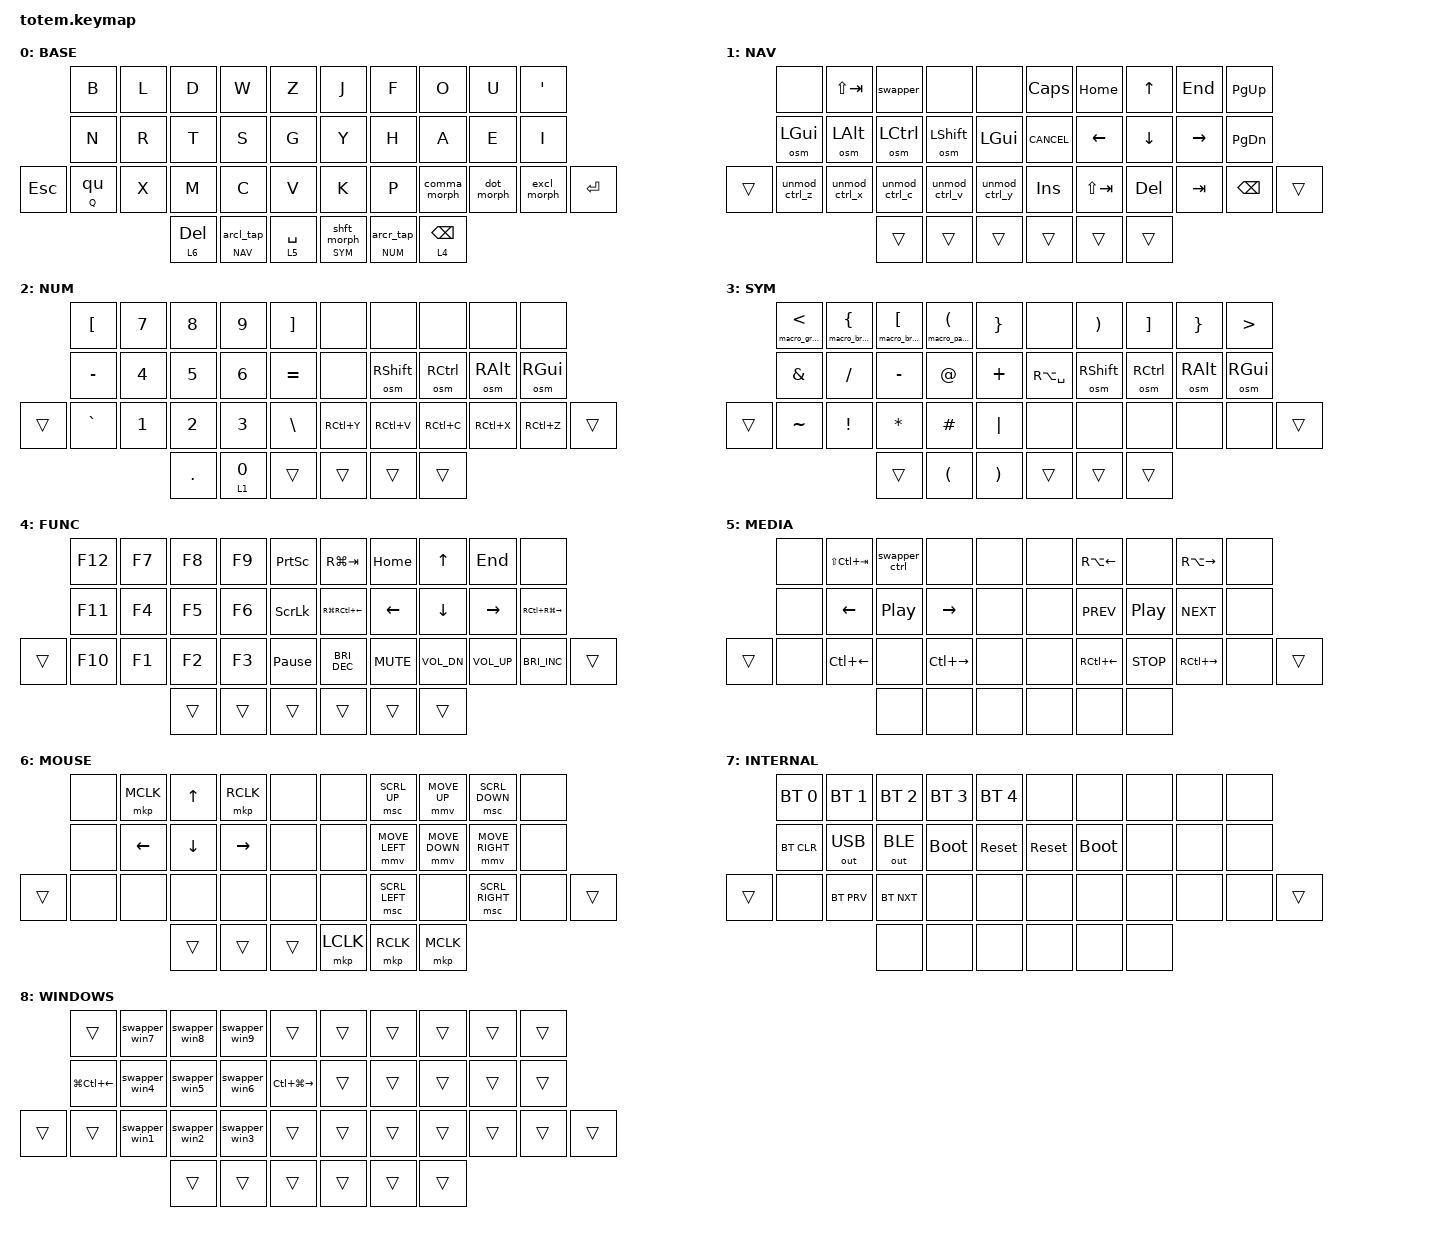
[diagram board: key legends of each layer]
#define ZMK_POINTING_DEFAULT_MOVE_VAL 1200  // 600
#define ZMK_POINTING_DEFAULT_SCRL_VAL 25   // 10

#include <input/processors.dtsi>
#include <zephyr/dt-bindings/input/input-event-codes.h>
#include <behaviors.dtsi>
#include <dt-bindings/zmk/bt.h>
#include <dt-bindings/zmk/keys.h>
#include <dt-bindings/zmk/outputs.h>
#include <dt-bindings/zmk/pointing.h>

#define BASE 0
#define NAV  1
#define NUM  2
#define SYM  3
#define FUNC 4
#define MEDIA 5
#define MOUSE 6

&mmv_input_listener { input-processors = <&zip_xy_scaler 2 1>; };

&msc_input_listener { input-processors = <&zip_scroll_scaler 2 1>; };

&msc {
    acceleration-exponent = <1>;      // 0
    time-to-max-speed-ms = <100>;       // 300
    delay-ms = <0>;                   // 0
};

&mmv {
    time-to-max-speed-ms = <500>;
    acceleration-exponent = <1>;
    trigger-period-ms = <16>;
};

&mt {
    quick-tap-ms = <200>;
    global-quick-tap;
    flavor = "tap-preferred";
    tapping-term-ms = <170>;
};

&lt {
    quick-tap-ms = <200>;
    flavor = "tap-preferred";
    tapping-term-ms = <170>;
};

/ {
    behaviors {
        osm: one_shot_mod {
            compatible = "zmk,behavior-sticky-key";
            label = "One-Shot Mod";
            #binding-cells = <1>;
            bindings = <&kp>;
            release-after-ms = <2000>;
            quick-release;
            ignore-modifiers;
        };

        swapper: swapper {
            compatible = "zmk,behavior-tri-state";
            label = "SWAPPER";
            #binding-cells = <0>;
            bindings = <&kt LALT>, <&kp TAB>, <&kt LALT>;

            ignored-key-positions = <2 1>;
        };

        osmlt: osm_layer_tap {
            compatible = "zmk,behavior-hold-tap";
            #binding-cells = <2>;
            flavor = "tap-preferred";
            tapping-term-ms = <200>;
            quick-tap-ms = <200>;
            bindings = <&mo>, <&osm>;

            display-name = "OSM Layer-Tap";
        };

        shftlt: shft_layer_tap {
            compatible = "zmk,behavior-hold-tap";
            #binding-cells = <2>;
            flavor = "tap-preferred";
            tapping-term-ms = <200>;
            quick-tap-ms = <200>;
            bindings = <&mo>, <&shft_morph>;

            display-name = "Shift Layer-Tap";
        };

        qu_or: qu_or {
            compatible = "zmk,behavior-hold-tap";
            label = "QU_OR";
            bindings = <&kp>, <&qu>;

            #binding-cells = <2>;
            tapping-term-ms = <220>;
            flavor = "tap-preferred";
        };

        comma_morph: comma_morph {
            compatible = "zmk,behavior-mod-morph";
            label = "COMMA_MORPH";
            #binding-cells = <0>;
            bindings = <&kp COMMA>, <&kp SEMI>;

            mods = <(MOD_LSFT|MOD_RSFT)>;
        };

        dot_morph: dot_morph {
            compatible = "zmk,behavior-mod-morph";
            label = "DOT_MORPH";
            #binding-cells = <0>;
            bindings = <&kp DOT>, <&kp COLON>;

            mods = <(MOD_LSFT|MOD_RSFT)>;
        };

        shft_morph: shft_morph {
            compatible = "zmk,behavior-mod-morph";
            label = "SHFT_MORPH";
            #binding-cells = <0>;
            bindings = <&osm RSHFT>, <&caps_word>;

            mods = <(MOD_LSFT|MOD_RSFT)>;
        };

        arcl_tap: arcane_left_tap {
            compatible = "zmk,behavior-adaptive-key";
            #binding-cells = <0>;
            label = "Arcane Left Tap";
            bindings = <&mo 1>;

            repeat {
                trigger-keys = <B L D Z N R T S G M C V>;
                bindings = <&key_repeat>;
                strict-modifiers;
            };

            arcl_fh {
                trigger-keys = <F H>;
                bindings = <&kp Y>;
            };

            arcl_w {
                trigger-keys = <W>;
                bindings = <&hat>;
            };

            arcl_p {
                trigger-keys = <P>;
                bindings = <&kp H>;
            };

            arcl_period {
                trigger-keys = <DOT>;
                bindings = <&com>;
            };

            arcl_i {
                trigger-keys = <I>;
                bindings = <&mc_on>;
            };

            arcl_a {
                trigger-keys = <A>;
                bindings = <&nd>;
            };
        };

        arcr_tap: arcane_right_tap {
            compatible = "zmk,behavior-adaptive-key";
            #binding-cells = <0>;
            label = "Arcane Right Tap";
            bindings = <&mo 2>;

            repeat {
                trigger-keys = <F O E K P>;
                bindings = <&key_repeat>;
                strict-modifiers;
            };

            arcr_a {
                trigger-keys = <A>;
                bindings = <&nd>;
            };

            arcr_b {
                trigger-keys = <B>;
                bindings = <&ecause>;
            };

            arcr_m {
                trigger-keys = <M>;
                bindings = <&ent>;
            };

            arcr_cw {
                trigger-keys = <C W>;
                bindings = <&ould>;
            };

            arcr_comma {
                trigger-keys = <COMMA>;
                bindings = <&spc_but>;
            };

            arcr_dot {
                trigger-keys = <DOT>;
                bindings = <&org>;
            };

            arcr_nt {
                trigger-keys = <N T>;
                bindings = <&ion>;
            };

            arcr_i {
                trigger-keys = <I>;
                bindings = <&ng>;
            };

            arcr_y {
                trigger-keys = <Y>;
                bindings = <&ou>;
            };
        };

        arcl: arcane_left {
            compatible = "zmk,behavior-hold-tap";
            label = "Arcane Left";
            bindings = <&mo>, <&arcl_tap>;

            #binding-cells = <2>;
            tapping-term-ms = <185>;
            quick-tap-ms = <200>;
        };

        arcr: arcane_right {
            compatible = "zmk,behavior-hold-tap";
            label = "Arcane Right";
            bindings = <&mo>, <&arcr_tap>;

            #binding-cells = <2>;
            tapping-term-ms = <185>;
            quick-tap-ms = <200>;
        };

        parens_ht: parens_ht {
            compatible = "zmk,behavior-hold-tap";
            label = "PARENS_HT";
            bindings = <&macro_parens>, <&kp>;

            #binding-cells = <2>;
            tapping-term-ms = <180>;
            flavor = "balanced";
        };

        braces_ht: braces_ht {
            compatible = "zmk,behavior-hold-tap";
            label = "BRACES_HT";
            bindings = <&macro_braces>, <&kp>;

            #binding-cells = <2>;
            tapping-term-ms = <180>;
            flavor = "balanced";
        };

        brackets_ht: brackets_ht {
            compatible = "zmk,behavior-hold-tap";
            label = "BRACKETS_HT";
            bindings = <&macro_brackets>, <&kp>;

            #binding-cells = <2>;
            tapping-term-ms = <180>;
            flavor = "balanced";
        };

        gt_lt_ht: gt_lt_ht {
            compatible = "zmk,behavior-hold-tap";
            label = "GT_LT_HT";
            bindings = <&macro_greater_less>, <&kp>;

            #binding-cells = <2>;
            tapping-term-ms = <180>;
            flavor = "balanced";
        };

        excl_morph: excl_morph {
            compatible = "zmk,behavior-mod-morph";
            label = "EXCL_MORPH";
            #binding-cells = <0>;
            bindings = <&kp EXCL>, <&kp QUESTION>;

            mods = <(MOD_LSFT|MOD_RSFT)>;
        };

        swapper_ctrl: swapper_ctrl {
            compatible = "zmk,behavior-tri-state";
            label = "SWAPPER_CTRL";
            #binding-cells = <0>;
            bindings = <&kt LCTL>, <&kp TAB>, <&kt LCTL>;

            ignored-key-positions = <2 1>;
        };

        swapper_win1: swapper_win1 {
            compatible = "zmk,behavior-tri-state";
            label = "SWAPPER_WIN1";
            #binding-cells = <0>;
            bindings = <&kt LWIN>, <&kp N1>, <&kt LWIN>;

            ignored-key-positions = <1 2 3 12 13 14 23 24 25>;
        };

        swapper_win2: swapper_win2 {
            compatible = "zmk,behavior-tri-state";
            label = "SWAPPER_WIN2";
            #binding-cells = <0>;
            bindings = <&kt LWIN>, <&kp N2>, <&kt LWIN>;

            ignored-key-positions = <1 2 3 12 13 14 23 24 25>;
        };

        swapper_win3: swapper_win3 {
            compatible = "zmk,behavior-tri-state";
            label = "SWAPPER_WIN3";
            #binding-cells = <0>;
            bindings = <&kt LWIN>, <&kp N3>, <&kt LWIN>;

            ignored-key-positions = <1 2 3 12 13 14 23 24 25>;
        };

        swapper_win4: swapper_win4 {
            compatible = "zmk,behavior-tri-state";
            label = "SWAPPER_WIN4";
            #binding-cells = <0>;
            bindings = <&kt LWIN>, <&kp N4>, <&kt LWIN>;

            ignored-key-positions = <1 2 3 12 13 14 23 24 25>;
        };

        swapper_win5: swapper_win5 {
            compatible = "zmk,behavior-tri-state";
            label = "SWAPPER_WIN5";
            #binding-cells = <0>;
            bindings = <&kt LWIN>, <&kp N5>, <&kt LWIN>;

            ignored-key-positions = <1 2 3 12 13 14 23 24 25>;
        };

        swapper_win6: swapper_win6 {
            compatible = "zmk,behavior-tri-state";
            label = "SWAPPER_WIN6";
            #binding-cells = <0>;
            bindings = <&kt LWIN>, <&kp N6>, <&kt LWIN>;

            ignored-key-positions = <1 2 3 12 13 14 23 24 25>;
        };

        swapper_win7: swapper_win7 {
            compatible = "zmk,behavior-tri-state";
            label = "SWAPPER_WIN7";
            #binding-cells = <0>;
            bindings = <&kt LWIN>, <&kp N7>, <&kt LWIN>;

            ignored-key-positions = <1 2 3 12 13 14 23 24 25>;
        };

        swapper_win8: swapper_win8 {
            compatible = "zmk,behavior-tri-state";
            label = "SWAPPER_WIN8";
            #binding-cells = <0>;
            bindings = <&kt LWIN>, <&kp N8>, <&kt LWIN>;

            ignored-key-positions = <1 2 3 12 13 14 23 24 25>;
        };

        swapper_win9: swapper_win9 {
            compatible = "zmk,behavior-tri-state";
            label = "SWAPPER_WIN9";
            #binding-cells = <0>;
            bindings = <&kt LWIN>, <&kp N9>, <&kt LWIN>;

            ignored-key-positions = <1 2 3 12 13 14 23 24 25>;
        };

        rlt: repeatable_layer_tap {
            compatible = "zmk,behavior-hold-tap";
            label = "RLT";
            #binding-cells = <2>;
            flavor = "balanced";
            tapping-term-ms = <200>;
            quick-tap-ms = <200>;
            bindings = <&mo>, <&kp>;
        };
    };

    macros {
        qu: qu {
            compatible = "zmk,behavior-macro";
            #binding-cells = <0>;
            tap-ms = <1>;
            wait-ms = <10>;
            bindings = <&kp Q &kp U>;
        };

        thanks: macro_thanks {
            compatible = "zmk,behavior-macro";
            #binding-cells = <0>;
            bindings = <&kp LS(T) &kp H &kp A &kp N &kp K &kp S &kp EXCL>;
            label = "macro_thanks";
        };

        nd: nd {
            compatible = "zmk,behavior-macro";
            #binding-cells = <0>;
            tap-ms = <1>;
            wait-ms = <10>;
            bindings = <&kp N &kp D>;
        };

        hat: hat {
            compatible = "zmk,behavior-macro";
            #binding-cells = <0>;
            tap-ms = <1>;
            wait-ms = <10>;
            bindings = <&kp H &kp A &kp T>;
        };

        mc_on: mc_on {
            compatible = "zmk,behavior-macro";
            #binding-cells = <0>;
            tap-ms = <1>;
            wait-ms = <10>;
            bindings = <&kp O &kp N>;
        };

        spc_and: spc_and {
            compatible = "zmk,behavior-macro";
            #binding-cells = <0>;
            tap-ms = <1>;
            wait-ms = <10>;
            bindings = <&kp SPACE &kp A &kp N &kp D>;
        };

        com: com {
            compatible = "zmk,behavior-macro";
            #binding-cells = <0>;
            tap-ms = <1>;
            wait-ms = <10>;
            bindings = <&kp C &kp O &kp M>;
        };

        ould: ould {
            compatible = "zmk,behavior-macro";
            #binding-cells = <0>;
            tap-ms = <1>;
            wait-ms = <10>;
            bindings = <&kp O &kp U &kp L &kp D>;
        };

        he: he {
            compatible = "zmk,behavior-macro";
            #binding-cells = <0>;
            tap-ms = <1>;
            wait-ms = <10>;
            bindings = <&kp H &kp E>;
        };

        ion: ion {
            compatible = "zmk,behavior-macro";
            #binding-cells = <0>;
            tap-ms = <1>;
            wait-ms = <10>;
            bindings = <&kp I &kp O &kp N>;
        };

        ent: ent {
            compatible = "zmk,behavior-macro";
            #binding-cells = <0>;
            tap-ms = <1>;
            wait-ms = <10>;
            bindings = <&kp E &kp N &kp T>;
        };

        ng: ng {
            compatible = "zmk,behavior-macro";
            #binding-cells = <0>;
            tap-ms = <1>;
            wait-ms = <10>;
            bindings = <&kp N &kp G>;
        };

        ou: ou {
            compatible = "zmk,behavior-macro";
            #binding-cells = <0>;
            tap-ms = <1>;
            wait-ms = <10>;
            bindings = <&kp O &kp U>;
        };

        ecause: ecause {
            compatible = "zmk,behavior-macro";
            #binding-cells = <0>;
            tap-ms = <1>;
            wait-ms = <10>;
            bindings = <&kp E &kp C &kp A &kp U &kp S &kp E>;
        };

        hich: hich {
            compatible = "zmk,behavior-macro";
            #binding-cells = <0>;
            tap-ms = <1>;
            wait-ms = <10>;
            bindings = <&kp H &kp I &kp C &kp H>;
        };

        spc_but: spc_but {
            compatible = "zmk,behavior-macro";
            #binding-cells = <0>;
            tap-ms = <1>;
            wait-ms = <10>;
            bindings = <&kp SPACE &kp B &kp U &kp T>;
        };

        org: org {
            compatible = "zmk,behavior-macro";
            #binding-cells = <0>;
            tap-ms = <1>;
            wait-ms = <10>;
            bindings = <&kp O &kp R &kp G>;
        };

        macro_greater_less: macro_greater_less {
            compatible = "zmk,behavior-macro";
            #binding-cells = <0>;
            bindings = <&kp LT &kp GT &kp LEFT>;
            label = "MACRO_GREATER_LESS";
        };

        macro_brackets: macro_brackets {
            compatible = "zmk,behavior-macro";
            #binding-cells = <0>;
            bindings = <&kp LEFT_BRACKET &kp RIGHT_BRACKET &kp LEFT>;
            label = "MACRO_BRACKETS";
        };

        macro_braces: macro_braces {
            compatible = "zmk,behavior-macro";
            #binding-cells = <0>;
            bindings = <&kp LEFT_BRACE &kp RIGHT_BRACE &kp LEFT>;
            label = "MACRO_BRACES";
        };

        macro_parens: macro_parens {
            compatible = "zmk,behavior-macro";
            #binding-cells = <0>;
            bindings = <&kp LEFT_PARENTHESIS &kp RIGHT_PARENTHESIS &kp LEFT>;
            label = "MACRO_PARENS";
        };

        unmod_ctrl_z: unmod_ctrl_z {
            compatible = "zmk,behavior-macro";
            #binding-cells = <0>;
            bindings = <&macro_release &kp LSHFT &kp RSHFT &kp LALT &kp RALT &kp LGUI &kp RGUI>, <&macro_tap &kp LC(Z)>;
            label = "UNMOD_CTRL_Z";
        };

        unmod_ctrl_x: unmod_ctrl_x {
            compatible = "zmk,behavior-macro";
            #binding-cells = <0>;
            bindings = <&macro_release &kp LSHFT &kp RSHFT &kp LALT &kp RALT &kp LGUI &kp RGUI>, <&macro_tap &kp LC(X)>;
            label = "UNMOD_CTRL_X";
        };

        unmod_ctrl_c: unmod_ctrl_c {
            compatible = "zmk,behavior-macro";
            #binding-cells = <0>;
            bindings = <&macro_release &kp LSHFT &kp RSHFT &kp LALT &kp RALT &kp LGUI &kp RGUI>, <&macro_tap &kp LC(C)>;
            label = "UNMOD_CTRL_C";
        };

        unmod_ctrl_v: unmod_ctrl_v {
            compatible = "zmk,behavior-macro";
            #binding-cells = <0>;
            bindings = <&macro_release &kp LSHFT &kp RSHFT &kp LALT &kp RALT &kp LGUI &kp RGUI>, <&macro_tap &kp LC(V)>;
            label = "UNMOD_CTRL_V";
        };

        unmod_ctrl_y: unmod_ctrl_y {
            compatible = "zmk,behavior-macro";
            #binding-cells = <0>;
            bindings = <&macro_release &kp LSHFT &kp RSHFT &kp LALT &kp RALT &kp LGUI &kp RGUI>, <&macro_tap &kp LC(Y)>;
            label = "UNMOD_CTRL_Y";
        };
    };

    combos {
        compatible = "zmk,combos";
        timeout-ms = <9>;
        require-prior-idle-ms = <500>;

        Combo_Tab {
            bindings = <&kp TAB>;
            key-positions = <11 12>;
            require-prior-idle-ms = <100>;
        };

        Combo_Copy {
            bindings = <&unmod_ctrl_c>;
            key-positions = <23 24>;
            require-prior-idle-ms = <150>;
        };

        Combo_Paste {
            bindings = <&unmod_ctrl_v>;
            key-positions = <24 25>;
            require-prior-idle-ms = <150>;
        };

        Combo_Backspace {
            bindings = <&kp BACKSPACE>;
            key-positions = <18 19>;
            require-prior-idle-ms = <150>;
        };

        Combo_Delete {
            bindings = <&kp DELETE>;
            key-positions = <9 8>;
            require-prior-idle-ms = <150>;
        };

        Combo_Thanks {
            bindings = <&thanks>;
            key-positions = <11 12 13 10>;
            layers = <0>;
        };

        Combo_Cut {
            bindings = <&unmod_ctrl_x>;
            key-positions = <22 23>;
            require-prior-idle-ms = <150>;
        };

        Combo_Undo {
            bindings = <&unmod_ctrl_z>;
            key-positions = <21 22>;
            require-prior-idle-ms = <150>;
        };

        Combo_Enter {
            bindings = <&kp RET>;
            key-positions = <17 18 16>;
        };

        Combo_Escape {
            bindings = <&kp ESCAPE>;
            key-positions = <10 11>;
            require-prior-idle-ms = <150>;
        };

        Combo_Command {
            bindings = <&kp LA(LG(SPACE))>;
            key-positions = <34 35>;
        };

        Combo_Quit {
            bindings = <&kp LA(F4)>;
            key-positions = <0 1 2>;
        };

        Combo_Hintmode {
            bindings = <&kp LA(LC(LS(SPACE)))>;
            key-positions = <33 36>;
        };

        Combo_PW {
            bindings = <&kp RS(RA(RC(F6)))>;
            key-positions = <13 16 17 12>;
        };

        Combo_HyperF {
            bindings = <&kp LC(LS(LA(LG(F))))>;
            key-positions = <27 28 29 30>;
            slow-release;
        };
    };

    keymap {
        compatible = "zmk,keymap";

        base_layer {
            label = "BASE";
            bindings = <
         &kp B       &kp L  &kp D         &kp W        &kp Z          &kp J          &kp F        &kp O         &kp U       &kp APOS
         &kp N       &kp R  &kp T         &kp S        &kp G          &kp Y          &kp H        &kp A         &kp E       &kp I
&kp ESC  &qu_or Q 0  &kp X  &kp M         &kp C        &kp V          &kp K          &kp P        &comma_morph  &dot_morph  &excl_morph  &kp RET
                            &rlt 6 DELETE  &arcl NAV 0  &lt 5 SPACE    &shftlt SYM 0  &arcr NUM 0  &rlt 4 BSPC
            >;
        };

        nav_layer {
            label = "NAV";
            bindings = <
        &none      &kp LS(TAB)  &swapper    &none       &none        &kp CAPS      &kp HOME     &kp UP    &kp END    &kp PG_UP
        &osm LGUI  &osm LALT    &osm LCTRL  &osm LSHFT  &kp LGUI     &kp K_CANCEL  &kp LEFT     &kp DOWN  &kp RIGHT  &kp PG_DN
&trans  &unmod_ctrl_z  &unmod_ctrl_x    &unmod_ctrl_c   &unmod_ctrl_v   &unmod_ctrl_y    &kp INS       &kp LS(TAB)  &kp DEL   &kp TAB    &kp BACKSPACE  &trans
                                &trans      &trans      &trans       &trans        &trans       &trans
            >;
        };

        num_layer {
            label = "NUM";
            bindings = <
        &kp LBKT   &kp N7  &kp N8   &kp N9    &kp RBKT     &none      &none       &none       &none      &none
        &kp MINUS  &kp N4  &kp N5   &kp N6    &kp EQUAL    &none      &osm RSHFT  &osm RCTRL  &osm RALT  &osm RGUI
&trans  &kp GRAVE  &kp N1  &kp N2   &kp N3    &kp BSLH     &kp RC(Y)  &kp RC(V)   &kp RC(C)   &kp RC(X)  &kp RC(Z)  &trans
                           &kp DOT  &lt 1 N0  &trans       &trans     &trans      &trans
            >;
        };

        sym_layer {
            label = "SYM";
            bindings = <
        &gt_lt_ht 0 LESS_THAN  &braces_ht 0 LEFT_BRACE  &brackets_ht 0 LEFT_BRACKET  &parens_ht 0 LEFT_PARENTHESIS  &kp RBRC    &none          &kp RIGHT_PARENTHESIS  &kp RIGHT_BRACKET  &kp RIGHT_BRACE  &kp GREATER_THAN
        &kp AMPS               &kp SLASH                &kp MINUS                    &kp AT                         &kp PLUS    &kp RA(SPACE)  &osm RSHFT             &osm RCTRL         &osm RALT        &osm RGUI
&trans  &kp TILDE              &kp EXCL                 &kp ASTRK                    &kp HASH                       &kp PIPE    &none          &none                  &none              &none            &none             &trans
                                                        &trans                       &kp LPAR                       &kp RPAR    &trans         &trans                 &trans
            >;
        };

        func_layer {
            label = "FUNC";
            bindings = <
        &kp F12  &kp F7  &kp F8  &kp F9  &kp PSCRN          &kp RG(TAB)             &kp HOME    &kp UP_ARROW    &kp END       &none
        &kp F11  &kp F4  &kp F5  &kp F6  &kp SLCK           &kp RG(RC(LEFT_ARROW))  &kp LEFT    &kp DOWN_ARROW  &kp RIGHT     &kp RC(RG(RIGHT))
&trans  &kp F10  &kp F1  &kp F2  &kp F3  &kp PAUSE_BREAK    &kp C_BRIGHTNESS_DEC    &kp C_MUTE  &kp C_VOL_DN    &kp C_VOL_UP  &kp C_BRIGHTNESS_INC  &trans
                         &trans  &trans  &trans             &trans                  &trans      &trans
            >;
        };

        media_layer {
            label = "MEDIA";
            bindings = <
        &none  &kp LS(LC(TAB))  &swapper_ctrl  &none          &none    &none  &kp RA(LEFT)  &none             &kp RA(RIGHT)  &none
        &none  &kp LEFT         &kp C_PP       &kp RIGHT      &none    &none  &kp C_PREV    &kp C_PLAY_PAUSE  &kp C_NEXT     &none
&trans  &none  &kp LC(LEFT)     &none          &kp LC(RIGHT)  &none    &none  &kp RC(LEFT)  &kp C_STOP        &kp RC(RIGHT)  &none  &trans
                                &none          &none          &none    &none  &none         &none
            >;
        };

        mouse_layer {
            label = "MOUSE";
            bindings = <
        &none  &mkp MCLK  &kp UP_ARROW  &mkp RCLK  &none     &none      &msc SCRL_UP    &mmv MOVE_UP    &msc SCRL_DOWN   &none
        &none  &kp LEFT   &kp DOWN      &kp RIGHT  &none     &none      &mmv MOVE_LEFT  &mmv MOVE_DOWN  &mmv MOVE_RIGHT  &none
&trans  &none  &none      &none         &none      &none     &none      &msc SCRL_LEFT  &none           &msc SCRL_RIGHT  &none  &trans
                          &trans        &trans     &trans    &mkp LCLK  &mkp RCLK       &mkp MCLK
            >;
        };

        Internals_layer {
            label = "INTERNAL";
            bindings = <
        &bt BT_SEL 0  &bt BT_SEL 1  &bt BT_SEL 2  &bt BT_SEL 3  &bt BT_SEL 4    &none       &none        &none  &none  &none
        &bt BT_CLR    &out OUT_USB  &out OUT_BLE  &bootloader   &sys_reset      &sys_reset  &bootloader  &none  &none  &none
&trans  &none         &bt BT_PRV    &bt BT_NXT    &none         &none           &none       &none        &none  &none  &none  &trans
                                    &none         &none         &none           &none       &none        &none
            >;
        };

        Windows_layer {
            bindings = <
        &trans            &swapper_win7  &swapper_win8  &swapper_win9  &trans               &trans  &trans  &trans  &trans  &trans
        &kp LG(LC(LEFT))  &swapper_win4  &swapper_win5  &swapper_win6  &kp LC(LG(RIGHT))    &trans  &trans  &trans  &trans  &trans
&trans  &trans            &swapper_win1  &swapper_win2  &swapper_win3  &trans               &trans  &trans  &trans  &trans  &trans  &trans
                                         &trans         &trans         &trans               &trans  &trans  &trans
            >;

            label = "WINDOWS";
        };
    };

    conditional_layers {
        compatible = "zmk,conditional-layers";

        INTERNALS {
            if-layers = <4 6>;
            then-layer = <7>;
        };

        windows {
            if-layers = <1 6>;
            then-layer = <8>;
        };
    };
};
